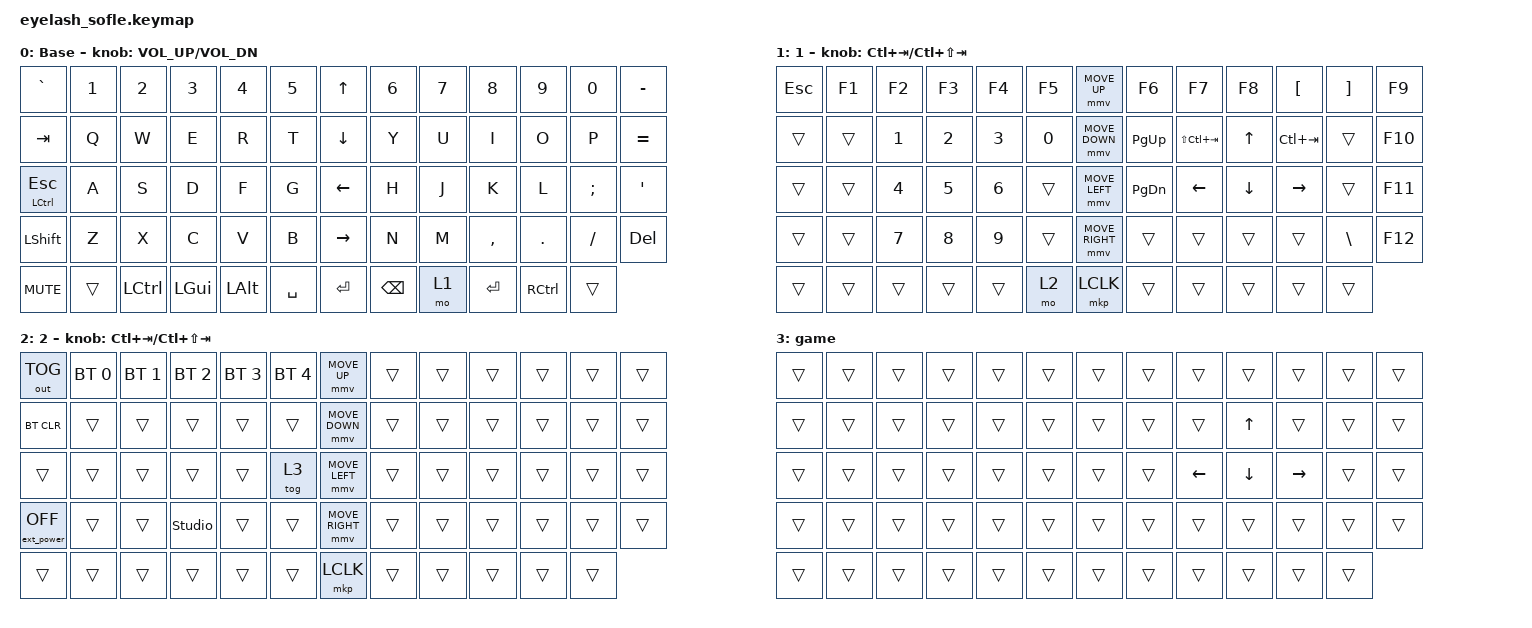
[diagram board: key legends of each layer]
#define ZMK_POINTING_DEFAULT_MOVE_VAL 1200  // 600
#define ZMK_POINTING_DEFAULT_SCRL_VAL 35    // 10

#include <input/processors.dtsi>
#include <zephyr/dt-bindings/input/input-event-codes.h>
#include <behaviors.dtsi>
#include <dt-bindings/zmk/bt.h>
#include <dt-bindings/zmk/ext_power.h>
#include <dt-bindings/zmk/keys.h>
#include <dt-bindings/zmk/outputs.h>
#include <dt-bindings/zmk/pointing.h>

/ {
    keymap {
        compatible = "zmk,keymap";

        layer0 {
            bindings = <
&kp GRAVE         &kp N1  &kp N2     &kp N3        &kp N4        &kp N5       &kp UP_ARROW     &kp N6         &kp N7  &kp N8     &kp N9     &kp N0    &kp MINUS
&kp TAB           &kp Q   &kp W      &kp E         &kp R         &kp T        &kp DOWN_ARROW   &kp Y          &kp U   &kp I      &kp O      &kp P     &kp EQUAL
&mt LCTRL ESCAPE  &kp A   &kp S      &kp D         &kp F         &kp G        &kp LEFT_ARROW   &kp H          &kp J   &kp K      &kp L      &kp SEMI  &kp APOS
&kp LSHFT         &kp Z   &kp X      &kp C         &kp V         &kp B        &kp RIGHT_ARROW  &kp N          &kp M   &kp COMMA  &kp DOT    &kp FSLH  &kp DEL
&kp C_MUTE        &trans  &kp LCTRL  &kp LEFT_GUI  &kp LEFT_ALT  &kp SPACE    &kp ENTER        &kp BACKSPACE  &mo 1   &kp ENTER  &kp RCTRL  &trans
            >;

            sensor-bindings = <&inc_dec_kp C_VOLUME_UP C_VOL_DN>;
            display-name = "Base";
        };

        layer_1 {
            bindings = <
&kp ESC  &kp F1  &kp F2  &kp F3  &kp F4  &kp F5    &mmv MOVE_UP     &kp F6         &kp F7           &kp F8    &kp LBKT     &kp RBKT  &kp F9
&trans   &trans  &kp N1  &kp N2  &kp N3  &kp N0    &mmv MOVE_DOWN   &kp PAGE_UP    &kp LS(LC(TAB))  &kp UP    &kp LC(TAB)  &trans    &kp F10
&trans   &trans  &kp N4  &kp N5  &kp N6  &trans    &mmv MOVE_LEFT   &kp PAGE_DOWN  &kp LEFT         &kp DOWN  &kp RIGHT    &trans    &kp F11
&trans   &trans  &kp N7  &kp N8  &kp N9  &trans    &mmv MOVE_RIGHT  &trans         &trans           &trans    &trans       &kp BSLH  &kp F12
&trans   &trans  &trans  &trans  &trans  &mo 2     &mkp LCLK        &trans         &trans           &trans    &trans       &trans
            >;

            sensor-bindings = <&inc_dec_kp LC(TAB) LC(LS(TAB))>;
            label = "1";
        };

        layer_2 {
            label = "2";
            bindings = <
&out OUT_TOG       &bt BT_SEL 0  &bt BT_SEL 1  &bt BT_SEL 2    &bt BT_SEL 3  &bt BT_SEL 4    &mmv MOVE_UP     &trans  &trans  &trans  &trans  &trans  &trans
&bt BT_CLR         &trans        &trans        &trans          &trans        &trans          &mmv MOVE_DOWN   &trans  &trans  &trans  &trans  &trans  &trans
&trans             &trans        &trans        &trans          &trans        &tog 3          &mmv MOVE_LEFT   &trans  &trans  &trans  &trans  &trans  &trans
&ext_power EP_OFF  &trans        &trans        &studio_unlock  &trans        &trans          &mmv MOVE_RIGHT  &trans  &trans  &trans  &trans  &trans  &trans
&trans             &trans        &trans        &trans          &trans        &trans          &mkp LCLK        &trans  &trans  &trans  &trans  &trans
            >;

            sensor-bindings = <&inc_dec_kp LC(TAB) LC(LS(TAB))>;
        };

        game {
            bindings = <
&trans  &trans  &trans  &trans  &trans  &trans    &trans  &trans  &trans    &trans        &trans     &trans  &trans
&trans  &trans  &trans  &trans  &trans  &trans    &trans  &trans  &trans    &kp UP_ARROW  &trans     &trans  &trans
&trans  &trans  &trans  &trans  &trans  &trans    &trans  &trans  &kp LEFT  &kp DOWN      &kp RIGHT  &trans  &trans
&trans  &trans  &trans  &trans  &trans  &trans    &trans  &trans  &trans    &trans        &trans     &trans  &trans
&trans  &trans  &trans  &trans  &trans  &trans    &trans  &trans  &trans    &trans        &trans     &trans
            >;

            label = "game";
        };
    };
};
